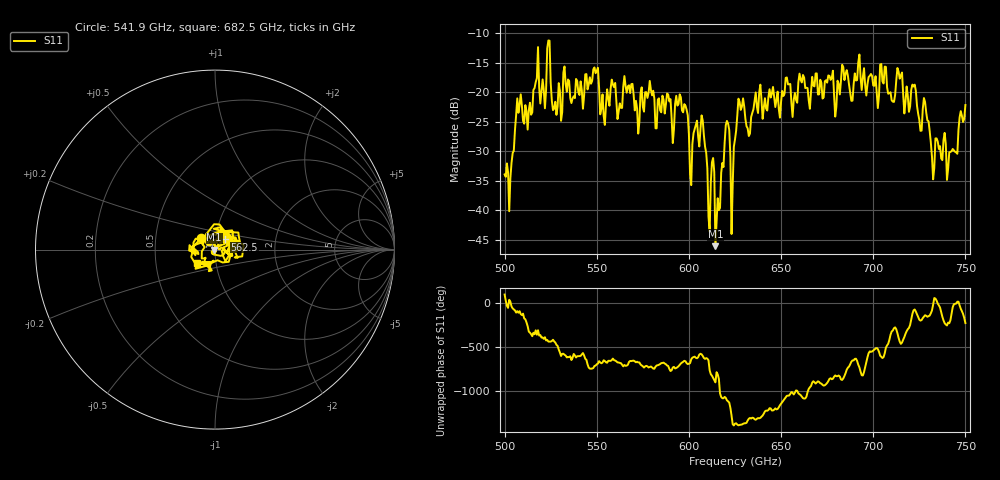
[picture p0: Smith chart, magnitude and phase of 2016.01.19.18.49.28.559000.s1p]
!Created with skrf (http://scikit-rf.org).
# GHz S RI R 50.0
!freq ReS11 ImS11
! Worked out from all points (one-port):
!   401 points, 500 GHz to 750 GHz, reference 50 ohm
!   lowest |S11| = -46.1 dB at 614.4 GHz (marker M1), VSWR 1.01, Z = 49.5 - j0.0286 ohm
!   |S11| at or under -10 dB: start of sweep to end of sweep
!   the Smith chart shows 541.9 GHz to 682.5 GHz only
!   S11 on the Smith chart (normalised r, x): 541.9 GHz: 0.84, +0.11; 562.5 GHz: 1.11, +0.13; 682.5 GHz: 0.81, -0.12
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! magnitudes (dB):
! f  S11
! 500 GHz  -33.9
! 503.8 GHz  -32.0
! 507.5 GHz  -23.5
! 516.9 GHz  -18.3
! 531.2 GHz  -23.4
! 541.9 GHz  -19.6
! 549.4 GHz  -16.8
! 553.1 GHz  -20.4
! 558.8 GHz  -18.7
! 562.5 GHz  -21.9
! 593.8 GHz  -22.3
! 601.2 GHz  -35.8
! 607.5 GHz  -24.8
! 610.6 GHz  -41.1
! 614.4 GHz  -46.1
! 615.6 GHz  -38.0
! 620.6 GHz  -24.9
! 623.1 GHz  -44.0
! 625 GHz  -28.0
! 628.1 GHz  -23.0
! 631.9 GHz  -26.1
! 656.2 GHz  -24.2
! 682.5 GHz  -18.0
! 687.5 GHz  -20.1
! 714.4 GHz  -17.7
! 718.8 GHz  -20.6
! 741.2 GHz  -30.2
! 750 GHz  -22.2
